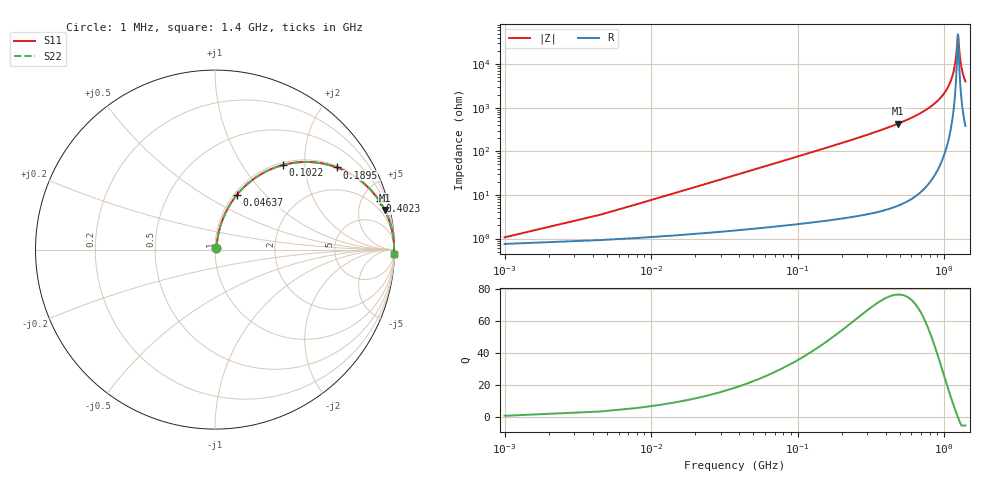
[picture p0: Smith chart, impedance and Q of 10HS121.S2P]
! Coilcraft 1008CS-121 Chip Inductor
! 02 July 2002
# MHZ S MA R 50
!Freq  MagS11  AngS11  MagS21  AngS21  MagS12  AngS12  MagS22  AngS22
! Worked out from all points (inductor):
!   402 points, 1 MHz to 1.4 GHz, reference 50 ohm
!   read as one part in series: L = 120 nH near 7.98 MHz
!   highest Q = 76.5 at 482.6 MHz (marker M1), where L = 141 nH
!   self-resonance near 1.243 GHz
!   S11 on the Smith chart (normalised r, x): 1 MHz: 1.02, +0.02; 46.37 MHz: 1.03, +0.70; 102.2 MHz: 1.04, +1.55; 189.5 MHz: 1.06, +2.92; 402.4 MHz: 1.09, +6.77; 1.4 GHz: 9, -80
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1  0.01056 44.7  0.9925 -0.4  0.9925 -0.4  0.01056 44.7
11.47  0.08593 77.8  0.9854 -4.9  0.9854 -4.9  0.08593 77.8
18.45  0.1367 77.0  0.9785 -7.8  0.9785 -7.8  0.1367 77.0
28.92  0.2108 74.2  0.964 -12.1  0.964 -12.1  0.2108 74.2
46.37  0.3261 68.3  0.9303 -19.0  0.9303 -19.0  0.3261 68.3
102.21  0.6051 51.2  0.7796 -37.2  0.7796 -37.2  0.6051 51.2
189.46  0.8183 34.0  0.5595 -54.9  0.5595 -54.9  0.8183 34.0
234.83  0.872 28.4  0.4749 -60.7  0.4749 -60.7  0.872 28.4
402.35  0.9556 16.4  0.2821 -72.8  0.2821 -72.8  0.9556 16.4
468.66  0.9688 13.6  0.2354 -75.6  0.2354 -75.6  0.9688 13.6
482.62  0.971 13.1  0.2268 -76.1  0.2268 -76.1  0.971 13.1
702.49  0.9899 7.3  0.1275 -81.8  0.1275 -81.8  0.9899 7.3
936.32  0.9963 3.5  0.06144 -84.8  0.06144 -84.8  0.9963 3.5
1079.41  0.9977 1.8  0.03063 -84.8  0.03063 -84.8  0.9977 1.8
1170.15  0.998 0.8  0.01348 -80.9  0.01348 -80.9  0.998 0.8
1205.05  0.998 0.4  0.007367 -73.8  0.007367 -73.8  0.998 0.4
1239.95  0.9979 0.1  0.002303 -26.3  0.002303 -26.3  0.9979 0.1
1246.93  0.9979 -0.0  0.002081 4.7  0.002081 4.7  0.9979 -0.0
1281.83  0.9978 -0.3  0.0064 70.2  0.0064 70.2  0.9978 -0.3
1306.26  0.9978 -0.6  0.01028 77.2  0.01028 77.2  0.9978 -0.6
1348.14  0.9976 -1.0  0.01691 81.4  0.01691 81.4  0.9976 -1.0
1400  0.9973 -1.4  0.02492 83.1  0.02492 83.1  0.9973 -1.4
